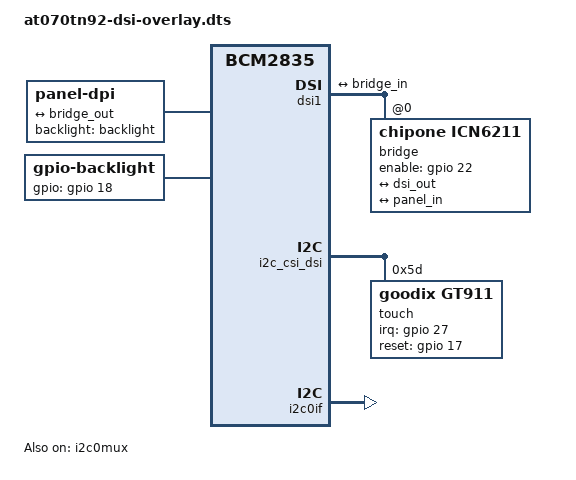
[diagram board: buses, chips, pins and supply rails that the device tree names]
/*
 * Raspberry Pi device-tree overlay for the AT070TN92 DSI driver board (hardware_dsi/)
 *
 *   Pi DSI (2 lanes) -> ICN6211 bridge -> AT070TN92 800x480 RGB888 panel (DE mode)
 *   GT915 touch on the DSI connector's I2C bus (i2c_csi_dsi, address 0x5d)
 *
 * Board connector J2 -> Pi 40-pin header (defaults, all changeable with overlay parameters):
 *   J2.1/2  +5V      -> header pin 2 / 4
 *   J2.3/4  GND      -> header pin 6 / 9
 *   J2.5    DSI_EN   -> GPIO22 (pin 15)   ICN6211 EN; also releases panel RESET and the bias supplies
 *   J2.6    TP_INT   -> GPIO27 (pin 13)
 *   J2.7    TP_RST   -> GPIO17 (pin 11)
 *   J2.8    BL_PWM   -> GPIO18 (pin 12)   backlight on/off (gpio-backlight)
 *
 * Build / install (see README.md):
 *   dtc -@ -I dts -O dtb -o at070tn92-dsi.dtbo at070tn92-dsi-overlay.dts
 *   sudo cp at070tn92-dsi.dtbo /boot/firmware/overlays/
 *   config.txt:  dtoverlay=vc4-kms-v3d
 *                dtoverlay=at070tn92-dsi            (Pi 5 DISP0 / CM DSI0: dtoverlay=at070tn92-dsi,dsi0)
 *
 * Needs the chipone-icn6211 kernel module (not built in Raspberry Pi OS kernels): rpi_dsi/icn6211/.
 */

/dts-v1/;
/plugin/;

/ {
	compatible = "brcm,bcm2835";

	dsi_frag: fragment@0 {
		target = <&dsi1>;
		__overlay__ {
			#address-cells = <1>;
			#size-cells = <0>;
			status = "okay";

			port {
				dsi_out: endpoint {
					remote-endpoint = <&bridge_in>;
				};
			};

			bridge: bridge@0 {
				compatible = "chipone,icn6211";
				reg = <0>;
				enable-gpios = <&gpio 22 0>;	/* GPIO_ACTIVE_HIGH */

				ports {
					#address-cells = <1>;
					#size-cells = <0>;

					port@0 {
						reg = <0>;
						bridge_in: endpoint {
							remote-endpoint = <&dsi_out>;
							data-lanes = <1 2>;
						};
					};

					port@1 {
						reg = <1>;
						bridge_out: endpoint {
							remote-endpoint = <&panel_in>;
						};
					};
				};
			};
		};
	};

	fragment@1 {
		target-path = "/";
		__overlay__ {
			panel: at070tn92-panel {
				compatible = "panel-dpi";
				width-mm = <154>;
				height-mm = <86>;
				backlight = <&backlight>;

				/* AT070TN92 spec: 33.3 MHz, Th 1056 (HFP 210, HBP+HS 46), Tv 525 (VFP 22, VBP+VS 23) */
				timing: panel-timing {
					clock-frequency = <33300000>;
					hactive = <800>;
					hfront-porch = <210>;
					hsync-len = <20>;
					hback-porch = <26>;
					vactive = <480>;
					vfront-porch = <22>;
					vsync-len = <10>;
					vback-porch = <13>;
					hsync-active = <0>;
					vsync-active = <0>;
					de-active = <1>;
					/* panel latches data on the falling DCLK edge: drive on the rising edge */
					pixelclk-active = <1>;
				};

				port {
					panel_in: endpoint {
						remote-endpoint = <&bridge_out>;
					};
				};
			};

			backlight: at070tn92-backlight {
				compatible = "gpio-backlight";
				gpios = <&gpio 18 0>;
				default-on;
			};
		};
	};

	i2c_frag: fragment@2 {
		target = <&i2c_csi_dsi>;
		__overlay__ {
			#address-cells = <1>;
			#size-cells = <0>;
			status = "okay";

			touch: gt915@5d {
				compatible = "goodix,gt911";	/* GT9xx family: the driver reads the GT915 ID */
				reg = <0x5d>;
				pinctrl-names = "default";
				pinctrl-0 = <&touch_pins>;
				interrupt-parent = <&gpio>;
				interrupts = <27 2>;		/* falling edge */
				irq-gpios = <&gpio 27 0>;
				reset-gpios = <&gpio 17 0>;
			};
		};
	};

	fragment@3 {
		target = <&gpio>;
		__overlay__ {
			touch_pins: at070tn92_touch_pins {
				brcm,pins = <27 17>;
				brcm,function = <0 1>;		/* INT in, RST out */
				brcm,pull = <0 0>;
			};
		};
	};

	fragment@4 {
		target = <&i2c0if>;
		__overlay__ {
			status = "okay";
		};
	};

	fragment@5 {
		target = <&i2c0mux>;
		__overlay__ {
			status = "okay";
		};
	};

	__overrides__ {
		dsi0 = <&dsi_frag>, "target:0=", <&dsi0>,
		       <&i2c_frag>, "target:0=", <&i2c_csi_dsi0>;
		enable_gpio = <&bridge>, "enable-gpios:4";
		backlight_gpio = <&backlight>, "gpios:4";
		touch_int = <&touch_pins>, "brcm,pins:0",
			    <&touch>, "interrupts:0",
			    <&touch>, "irq-gpios:4";
		touch_reset = <&touch_pins>, "brcm,pins:4",
			      <&touch>, "reset-gpios:4";
		touch_addr = <&touch>, "reg:0";
		disable_touch = <&touch>, "status=disabled";
		touch_invx = <&touch>, "touchscreen-inverted-x?";
		touch_invy = <&touch>, "touchscreen-inverted-y?";
		touch_swapxy = <&touch>, "touchscreen-swapped-x-y?";
		clock-frequency = <&timing>, "clock-frequency:0";
	};
};
